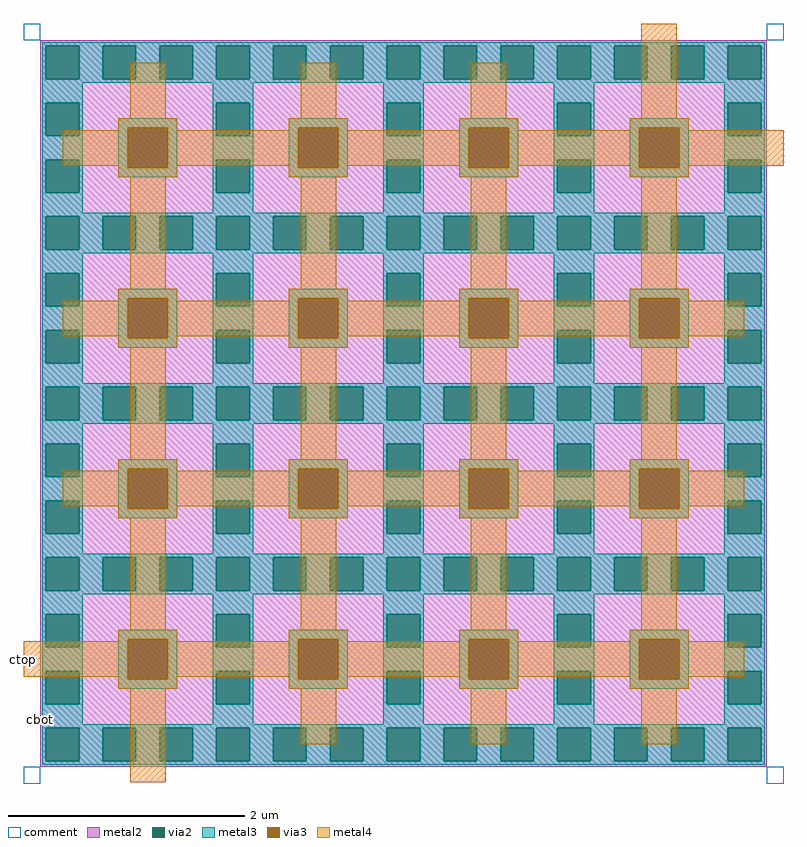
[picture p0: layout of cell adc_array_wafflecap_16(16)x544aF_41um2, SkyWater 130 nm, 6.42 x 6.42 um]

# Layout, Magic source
magic
tech sky130A
<< metal2 >>
rect 14 623 628 628
rect 14 595 19 623
rect 47 595 67 623
rect 95 595 115 623
rect 143 595 163 623
rect 191 595 211 623
rect 239 595 259 623
rect 287 595 307 623
rect 335 595 355 623
rect 383 595 403 623
rect 431 595 451 623
rect 479 595 499 623
rect 527 595 547 623
rect 575 595 595 623
rect 623 595 628 623
rect 14 575 628 595
rect 14 547 19 575
rect 47 547 163 575
rect 191 547 307 575
rect 335 547 451 575
rect 479 547 595 575
rect 623 547 628 575
rect 14 527 628 547
rect 14 499 19 527
rect 47 499 163 527
rect 191 499 307 527
rect 335 499 451 527
rect 479 499 595 527
rect 623 499 628 527
rect 14 479 628 499
rect 14 451 19 479
rect 47 451 67 479
rect 95 451 115 479
rect 143 451 163 479
rect 191 451 211 479
rect 239 451 259 479
rect 287 451 307 479
rect 335 451 355 479
rect 383 451 403 479
rect 431 451 451 479
rect 479 451 499 479
rect 527 451 547 479
rect 575 451 595 479
rect 623 451 628 479
rect 14 431 628 451
rect 14 403 19 431
rect 47 403 163 431
rect 191 403 307 431
rect 335 403 451 431
rect 479 403 595 431
rect 623 403 628 431
rect 14 383 628 403
rect 14 355 19 383
rect 47 355 163 383
rect 191 355 307 383
rect 335 355 451 383
rect 479 355 595 383
rect 623 355 628 383
rect 14 335 628 355
rect 14 307 19 335
rect 47 307 67 335
rect 95 307 115 335
rect 143 307 163 335
rect 191 307 211 335
rect 239 307 259 335
rect 287 307 307 335
rect 335 307 355 335
rect 383 307 403 335
rect 431 307 451 335
rect 479 307 499 335
rect 527 307 547 335
rect 575 307 595 335
rect 623 307 628 335
rect 14 287 628 307
rect 14 259 19 287
rect 47 259 163 287
rect 191 259 307 287
rect 335 259 451 287
rect 479 259 595 287
rect 623 259 628 287
rect 14 239 628 259
rect 14 211 19 239
rect 47 211 163 239
rect 191 211 307 239
rect 335 211 451 239
rect 479 211 595 239
rect 623 211 628 239
rect 14 191 628 211
rect 14 163 19 191
rect 47 163 67 191
rect 95 163 115 191
rect 143 163 163 191
rect 191 163 211 191
rect 239 163 259 191
rect 287 163 307 191
rect 335 163 355 191
rect 383 163 403 191
rect 431 163 451 191
rect 479 163 499 191
rect 527 163 547 191
rect 575 163 595 191
rect 623 163 628 191
rect 14 143 628 163
rect 14 115 19 143
rect 47 115 163 143
rect 191 115 307 143
rect 335 115 451 143
rect 479 115 595 143
rect 623 115 628 143
rect 14 95 628 115
rect 14 67 19 95
rect 47 67 163 95
rect 191 67 307 95
rect 335 67 451 95
rect 479 67 595 95
rect 623 67 628 95
rect 14 47 628 67
rect 14 19 19 47
rect 47 19 67 47
rect 95 19 115 47
rect 143 19 163 47
rect 191 19 211 47
rect 239 19 259 47
rect 287 19 307 47
rect 335 19 355 47
rect 383 19 403 47
rect 431 19 451 47
rect 479 19 499 47
rect 527 19 547 47
rect 575 19 595 47
rect 623 19 628 47
rect 14 14 628 19
<< via2 >>
rect 19 595 47 623
rect 67 595 95 623
rect 115 595 143 623
rect 163 595 191 623
rect 211 595 239 623
rect 259 595 287 623
rect 307 595 335 623
rect 355 595 383 623
rect 403 595 431 623
rect 451 595 479 623
rect 499 595 527 623
rect 547 595 575 623
rect 595 595 623 623
rect 19 547 47 575
rect 163 547 191 575
rect 307 547 335 575
rect 451 547 479 575
rect 595 547 623 575
rect 19 499 47 527
rect 163 499 191 527
rect 307 499 335 527
rect 451 499 479 527
rect 595 499 623 527
rect 19 451 47 479
rect 67 451 95 479
rect 115 451 143 479
rect 163 451 191 479
rect 211 451 239 479
rect 259 451 287 479
rect 307 451 335 479
rect 355 451 383 479
rect 403 451 431 479
rect 451 451 479 479
rect 499 451 527 479
rect 547 451 575 479
rect 595 451 623 479
rect 19 403 47 431
rect 163 403 191 431
rect 307 403 335 431
rect 451 403 479 431
rect 595 403 623 431
rect 19 355 47 383
rect 163 355 191 383
rect 307 355 335 383
rect 451 355 479 383
rect 595 355 623 383
rect 19 307 47 335
rect 67 307 95 335
rect 115 307 143 335
rect 163 307 191 335
rect 211 307 239 335
rect 259 307 287 335
rect 307 307 335 335
rect 355 307 383 335
rect 403 307 431 335
rect 451 307 479 335
rect 499 307 527 335
rect 547 307 575 335
rect 595 307 623 335
rect 19 259 47 287
rect 163 259 191 287
rect 307 259 335 287
rect 451 259 479 287
rect 595 259 623 287
rect 19 211 47 239
rect 163 211 191 239
rect 307 211 335 239
rect 451 211 479 239
rect 595 211 623 239
rect 19 163 47 191
rect 67 163 95 191
rect 115 163 143 191
rect 163 163 191 191
rect 211 163 239 191
rect 259 163 287 191
rect 307 163 335 191
rect 355 163 383 191
rect 403 163 431 191
rect 451 163 479 191
rect 499 163 527 191
rect 547 163 575 191
rect 595 163 623 191
rect 19 115 47 143
rect 163 115 191 143
rect 307 115 335 143
rect 451 115 479 143
rect 595 115 623 143
rect 19 67 47 95
rect 163 67 191 95
rect 307 67 335 95
rect 451 67 479 95
rect 595 67 623 95
rect 19 19 47 47
rect 67 19 95 47
rect 115 19 143 47
rect 163 19 191 47
rect 211 19 239 47
rect 259 19 287 47
rect 307 19 335 47
rect 355 19 383 47
rect 403 19 431 47
rect 451 19 479 47
rect 499 19 527 47
rect 547 19 575 47
rect 595 19 623 47
<< metal3 >>
rect 16 623 626 626
rect 16 595 19 623
rect 47 595 67 623
rect 95 595 115 623
rect 143 595 163 623
rect 191 595 211 623
rect 239 595 259 623
rect 287 595 307 623
rect 335 595 355 623
rect 383 595 403 623
rect 431 595 451 623
rect 479 595 499 623
rect 527 595 547 623
rect 575 595 595 623
rect 623 595 626 623
rect 16 592 626 595
rect 16 575 50 592
rect 16 547 19 575
rect 47 547 50 575
rect 160 575 194 592
rect 16 527 50 547
rect 16 499 19 527
rect 47 499 50 527
rect 80 554 130 562
rect 80 520 88 554
rect 122 520 130 554
rect 80 512 130 520
rect 160 547 163 575
rect 191 547 194 575
rect 304 575 338 592
rect 160 527 194 547
rect 16 482 50 499
rect 160 499 163 527
rect 191 499 194 527
rect 224 554 274 562
rect 224 520 232 554
rect 266 520 274 554
rect 224 512 274 520
rect 304 547 307 575
rect 335 547 338 575
rect 448 575 482 592
rect 304 527 338 547
rect 160 482 194 499
rect 304 499 307 527
rect 335 499 338 527
rect 368 554 418 562
rect 368 520 376 554
rect 410 520 418 554
rect 368 512 418 520
rect 448 547 451 575
rect 479 547 482 575
rect 592 575 626 592
rect 448 527 482 547
rect 304 482 338 499
rect 448 499 451 527
rect 479 499 482 527
rect 512 554 562 562
rect 512 520 520 554
rect 554 520 562 554
rect 512 512 562 520
rect 592 547 595 575
rect 623 547 626 575
rect 592 527 626 547
rect 448 482 482 499
rect 592 499 595 527
rect 623 499 626 527
rect 592 482 626 499
rect 16 479 626 482
rect 16 451 19 479
rect 47 451 67 479
rect 95 451 115 479
rect 143 451 163 479
rect 191 451 211 479
rect 239 451 259 479
rect 287 451 307 479
rect 335 451 355 479
rect 383 451 403 479
rect 431 451 451 479
rect 479 451 499 479
rect 527 451 547 479
rect 575 451 595 479
rect 623 451 626 479
rect 16 448 626 451
rect 16 431 50 448
rect 16 403 19 431
rect 47 403 50 431
rect 160 431 194 448
rect 16 383 50 403
rect 16 355 19 383
rect 47 355 50 383
rect 80 410 130 418
rect 80 376 88 410
rect 122 376 130 410
rect 80 368 130 376
rect 160 403 163 431
rect 191 403 194 431
rect 304 431 338 448
rect 160 383 194 403
rect 16 338 50 355
rect 160 355 163 383
rect 191 355 194 383
rect 224 410 274 418
rect 224 376 232 410
rect 266 376 274 410
rect 224 368 274 376
rect 304 403 307 431
rect 335 403 338 431
rect 448 431 482 448
rect 304 383 338 403
rect 160 338 194 355
rect 304 355 307 383
rect 335 355 338 383
rect 368 410 418 418
rect 368 376 376 410
rect 410 376 418 410
rect 368 368 418 376
rect 448 403 451 431
rect 479 403 482 431
rect 592 431 626 448
rect 448 383 482 403
rect 304 338 338 355
rect 448 355 451 383
rect 479 355 482 383
rect 512 410 562 418
rect 512 376 520 410
rect 554 376 562 410
rect 512 368 562 376
rect 592 403 595 431
rect 623 403 626 431
rect 592 383 626 403
rect 448 338 482 355
rect 592 355 595 383
rect 623 355 626 383
rect 592 338 626 355
rect 16 335 626 338
rect 16 307 19 335
rect 47 307 67 335
rect 95 307 115 335
rect 143 307 163 335
rect 191 307 211 335
rect 239 307 259 335
rect 287 307 307 335
rect 335 307 355 335
rect 383 307 403 335
rect 431 307 451 335
rect 479 307 499 335
rect 527 307 547 335
rect 575 307 595 335
rect 623 307 626 335
rect 16 304 626 307
rect 16 287 50 304
rect 16 259 19 287
rect 47 259 50 287
rect 160 287 194 304
rect 16 239 50 259
rect 16 211 19 239
rect 47 211 50 239
rect 80 266 130 274
rect 80 232 88 266
rect 122 232 130 266
rect 80 224 130 232
rect 160 259 163 287
rect 191 259 194 287
rect 304 287 338 304
rect 160 239 194 259
rect 16 194 50 211
rect 160 211 163 239
rect 191 211 194 239
rect 224 266 274 274
rect 224 232 232 266
rect 266 232 274 266
rect 224 224 274 232
rect 304 259 307 287
rect 335 259 338 287
rect 448 287 482 304
rect 304 239 338 259
rect 160 194 194 211
rect 304 211 307 239
rect 335 211 338 239
rect 368 266 418 274
rect 368 232 376 266
rect 410 232 418 266
rect 368 224 418 232
rect 448 259 451 287
rect 479 259 482 287
rect 592 287 626 304
rect 448 239 482 259
rect 304 194 338 211
rect 448 211 451 239
rect 479 211 482 239
rect 512 266 562 274
rect 512 232 520 266
rect 554 232 562 266
rect 512 224 562 232
rect 592 259 595 287
rect 623 259 626 287
rect 592 239 626 259
rect 448 194 482 211
rect 592 211 595 239
rect 623 211 626 239
rect 592 194 626 211
rect 16 191 626 194
rect 16 163 19 191
rect 47 163 67 191
rect 95 163 115 191
rect 143 163 163 191
rect 191 163 211 191
rect 239 163 259 191
rect 287 163 307 191
rect 335 163 355 191
rect 383 163 403 191
rect 431 163 451 191
rect 479 163 499 191
rect 527 163 547 191
rect 575 163 595 191
rect 623 163 626 191
rect 16 160 626 163
rect 16 143 50 160
rect 16 115 19 143
rect 47 115 50 143
rect 160 143 194 160
rect 16 95 50 115
rect 16 67 19 95
rect 47 67 50 95
rect 80 122 130 130
rect 80 88 88 122
rect 122 88 130 122
rect 80 80 130 88
rect 160 115 163 143
rect 191 115 194 143
rect 304 143 338 160
rect 160 95 194 115
rect 16 50 50 67
rect 160 67 163 95
rect 191 67 194 95
rect 224 122 274 130
rect 224 88 232 122
rect 266 88 274 122
rect 224 80 274 88
rect 304 115 307 143
rect 335 115 338 143
rect 448 143 482 160
rect 304 95 338 115
rect 160 50 194 67
rect 304 67 307 95
rect 335 67 338 95
rect 368 122 418 130
rect 368 88 376 122
rect 410 88 418 122
rect 368 80 418 88
rect 448 115 451 143
rect 479 115 482 143
rect 592 143 626 160
rect 448 95 482 115
rect 304 50 338 67
rect 448 67 451 95
rect 479 67 482 95
rect 512 122 562 130
rect 512 88 520 122
rect 554 88 562 122
rect 512 80 562 88
rect 592 115 595 143
rect 623 115 626 143
rect 592 95 626 115
rect 448 50 482 67
rect 592 67 595 95
rect 623 67 626 95
rect 592 50 626 67
rect 16 47 626 50
rect 16 19 19 47
rect 47 19 67 47
rect 95 19 115 47
rect 143 19 163 47
rect 191 19 211 47
rect 239 19 259 47
rect 287 19 307 47
rect 335 19 355 47
rect 383 19 403 47
rect 431 19 451 47
rect 479 19 499 47
rect 527 19 547 47
rect 575 19 595 47
rect 623 19 626 47
rect 16 16 626 19
<< via3 >>
rect 88 520 122 554
rect 232 520 266 554
rect 376 520 410 554
rect 520 520 554 554
rect 88 376 122 410
rect 232 376 266 410
rect 376 376 410 410
rect 520 376 554 410
rect 88 232 122 266
rect 232 232 266 266
rect 376 232 410 266
rect 520 232 554 266
rect 88 88 122 122
rect 232 88 266 122
rect 376 88 410 122
rect 520 88 554 122
<< metal4 >>
rect 90 562 120 609
rect 234 562 264 609
rect 378 562 408 609
rect 522 562 552 642
rect 80 554 130 562
rect 80 552 88 554
rect 33 522 88 552
rect 80 520 88 522
rect 122 552 130 554
rect 224 554 274 562
rect 224 552 232 554
rect 122 522 232 552
rect 122 520 130 522
rect 80 512 130 520
rect 224 520 232 522
rect 266 552 274 554
rect 368 554 418 562
rect 368 552 376 554
rect 266 522 376 552
rect 266 520 274 522
rect 224 512 274 520
rect 368 520 376 522
rect 410 552 418 554
rect 512 554 562 562
rect 512 552 520 554
rect 410 522 520 552
rect 410 520 418 522
rect 368 512 418 520
rect 512 520 520 522
rect 554 552 562 554
rect 554 522 642 552
rect 554 520 562 522
rect 512 512 562 520
rect 90 418 120 512
rect 234 418 264 512
rect 378 418 408 512
rect 522 418 552 512
rect 80 410 130 418
rect 80 408 88 410
rect 33 378 88 408
rect 80 376 88 378
rect 122 408 130 410
rect 224 410 274 418
rect 224 408 232 410
rect 122 378 232 408
rect 122 376 130 378
rect 80 368 130 376
rect 224 376 232 378
rect 266 408 274 410
rect 368 410 418 418
rect 368 408 376 410
rect 266 378 376 408
rect 266 376 274 378
rect 224 368 274 376
rect 368 376 376 378
rect 410 408 418 410
rect 512 410 562 418
rect 512 408 520 410
rect 410 378 520 408
rect 410 376 418 378
rect 368 368 418 376
rect 512 376 520 378
rect 554 408 562 410
rect 554 378 609 408
rect 554 376 562 378
rect 512 368 562 376
rect 90 274 120 368
rect 234 274 264 368
rect 378 274 408 368
rect 522 274 552 368
rect 80 266 130 274
rect 80 264 88 266
rect 33 234 88 264
rect 80 232 88 234
rect 122 264 130 266
rect 224 266 274 274
rect 224 264 232 266
rect 122 234 232 264
rect 122 232 130 234
rect 80 224 130 232
rect 224 232 232 234
rect 266 264 274 266
rect 368 266 418 274
rect 368 264 376 266
rect 266 234 376 264
rect 266 232 274 234
rect 224 224 274 232
rect 368 232 376 234
rect 410 264 418 266
rect 512 266 562 274
rect 512 264 520 266
rect 410 234 520 264
rect 410 232 418 234
rect 368 224 418 232
rect 512 232 520 234
rect 554 264 562 266
rect 554 234 609 264
rect 554 232 562 234
rect 512 224 562 232
rect 90 130 120 224
rect 234 130 264 224
rect 378 130 408 224
rect 522 130 552 224
rect 80 122 130 130
rect 80 120 88 122
rect 0 90 88 120
rect 80 88 88 90
rect 122 120 130 122
rect 224 122 274 130
rect 224 120 232 122
rect 122 90 232 120
rect 122 88 130 90
rect 80 80 130 88
rect 224 88 232 90
rect 266 120 274 122
rect 368 122 418 130
rect 368 120 376 122
rect 266 90 376 120
rect 266 88 274 90
rect 224 80 274 88
rect 368 88 376 90
rect 410 120 418 122
rect 512 122 562 130
rect 512 120 520 122
rect 410 90 520 120
rect 410 88 418 90
rect 368 80 418 88
rect 512 88 520 90
rect 554 120 562 122
rect 554 90 609 120
rect 554 88 562 90
rect 512 80 562 88
rect 90 1 120 80
rect 234 33 264 80
rect 378 33 408 80
rect 522 33 552 80
<< comment >>
rect 0 628 14 642
rect 628 628 642 642
rect 0 0 14 14
rect 628 0 642 14
<< labels >>
rlabel metal4 0 90 0 120 7 ctop
port 1 w
rlabel metal2 14 54 14 54 7 cbot
port 2 w
<< end >>
